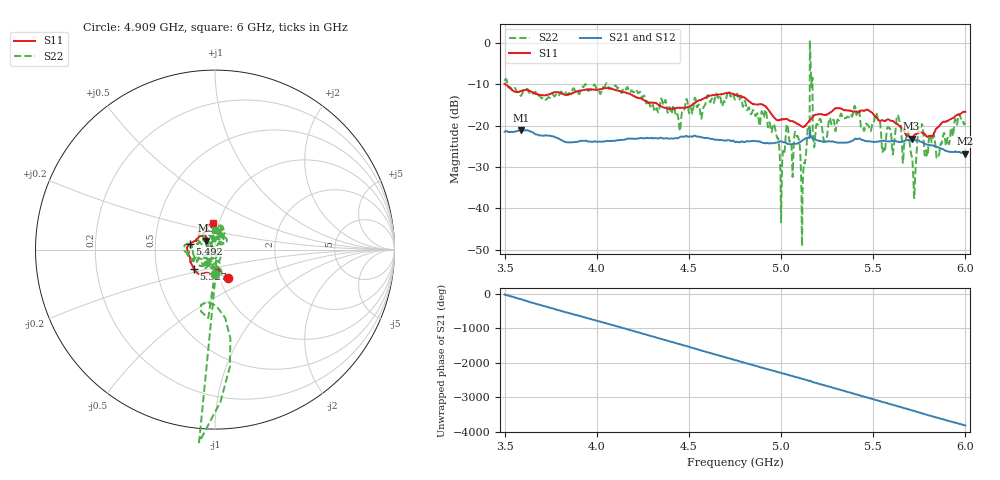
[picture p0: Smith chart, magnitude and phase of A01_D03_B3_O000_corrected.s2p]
! Created with skrf 1.9.0 (http://scikit-rf.org).
# Hz S RI R 50.0
!freq ReS11 ImS11 ReS21 ImS21 ReS12 ImS12 ReS22 ImS22
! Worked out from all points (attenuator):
!   1601 points, 3.5 GHz to 6 GHz, reference 50 ohm
!   highest |S21| = -21.05 dB at 3.591 GHz (marker M1); lowest = -26.7 dB at 5.997 GHz (marker M2)
!   lowest |S11| = -23.1 dB at 5.708 GHz (marker M3), VSWR 1.15, Z = 45.1 + j4.54 ohm
!   |S11| at or under -10 dB: 3.506 GHz to end of sweep
!   |S22| runs from -49.1 to 0.7 dB; largest |S21 - S12| = 0.0011
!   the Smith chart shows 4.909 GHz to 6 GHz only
!   S11 on the Smith chart (normalised r, x): 4.909 GHz: 1.10, -0.36; 5.327 GHz: 0.77, -0.17; 5.492 GHz: 0.75, +0.05; 6 GHz: 0.94, +0.28
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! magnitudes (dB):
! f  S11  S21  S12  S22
! 3.5 GHz  -9.8  -21.4  -21.4  -9.1
! 3.591 GHz  -11.5  -21.0  -21.0  -12.7
! 3.917 GHz  -11.5  -23.6  -23.6  -10.6
! 4.334 GHz  -14.9  -23.1  -23.0  -16.8
! 4.75 GHz  -12.5  -23.9  -23.9  -13.7
! 4.909 GHz  -15.1  -24.2  -24.1  -17.3
! 5.005 GHz  -18.4  -23.8  -23.8  -30.2
! 5.031 GHz  -18.4  -24.3  -24.2  -19.7
! 5.086 GHz  -19.4  -24.3  -24.3  -22.6
! 5.119 GHz  -20.2  -23.4  -23.3  -32.6
! 5.167 GHz  -18.1  -22.8  -22.8  -10.0
! 5.184 GHz  -17.4  -23.4  -23.3  -22.8
! 5.327 GHz  -15.9  -24.0  -24.0  -17.1
! 5.492 GHz  -16.8  -23.8  -23.8  -20.2
! 5.584 GHz  -18.5  -23.8  -23.7  -20.4
! 5.638 GHz  -19.8  -23.9  -23.9  -18.0
! 5.708 GHz  -23.1  -23.5  -23.5  -27.1
! 5.725 GHz  -22.1  -23.5  -23.5  -35.2
! 5.756 GHz  -21.6  -23.8  -23.7  -20.3
! 5.85 GHz  -20.4  -25.2  -25.1  -27.3
! 5.997 GHz  -16.6  -26.7  -26.6  -19.5
! 6 GHz  -16.6  -26.7  -26.6  -19.2
